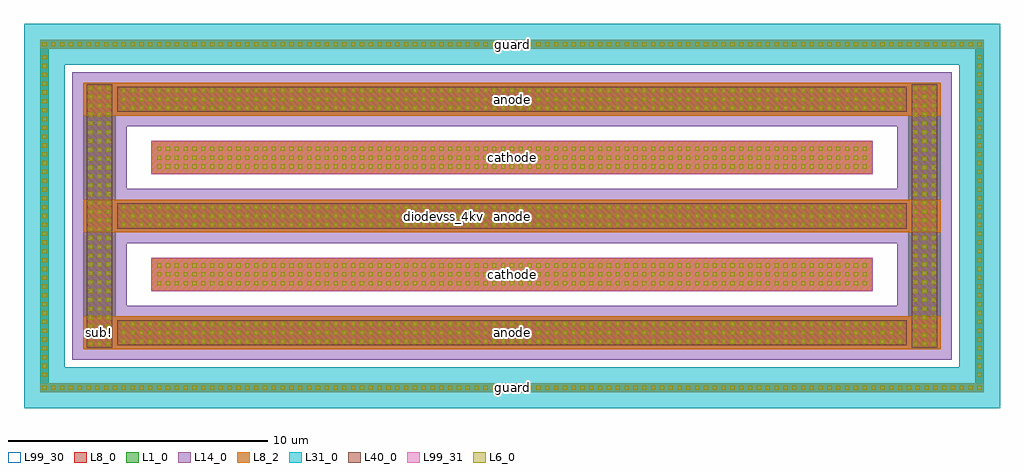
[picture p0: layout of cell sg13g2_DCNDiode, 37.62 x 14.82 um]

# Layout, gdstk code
import gdstk
lib = gdstk.Library(unit=1e-6, precision=1e-09)
def R(c, l, rs):  # rectangles x0, y0, x1, y1
    for r in rs: c.add(gdstk.rectangle(r[:2], r[2:], *l))
def A(c, l, x, y, w, h, nx, ny, dx, dy):  # array of equal rectangles
    R(c, l, [(x+i*dx, y+j*dy, x+i*dx+w, y+j*dy+h) for i in range(nx) for j in range(ny)])
def P(c, l, *ps):  # polygons
    for p in ps: c.add(gdstk.Polygon(p, *l))
L1_0 = (1, 0)
L6_0 = (6, 0)
L8_0 = (8, 0)
L8_2 = (8, 2)
L14_0 = (14, 0)
L31_0 = (31, 0)
L40_0 = (40, 0)
L99_30 = (99, 30)
L99_31 = (99, 31)

sg13g2_guardring_n7276w2 = lib.new_cell('sg13g2_GuardRing_N7276W2716HFF')
P(sg13g2_guardring_n7276w2, L1_0, [(-18.19,-6.79),(-18.19,6.45),(-17.85,6.45),(-17.85,-6.45),(17.85,-6.45),(17.85,6.45),(-18.19,6.45),(-18.19,6.79),(18.19,6.79),(18.19,-6.79)])
A(sg13g2_guardring_n7276w2, L6_0, -18.1, -6.7, 0.16, 0.16, 107, 2, 0.34, 13.24)
A(sg13g2_guardring_n7276w2, L6_0, -18.1, -6.2, 0.16, 0.16, 1, 37, 0, 0.34)
A(sg13g2_guardring_n7276w2, L6_0, 17.94, -6.2, 0.16, 0.16, 1, 37, 0, 0.34)
P(sg13g2_guardring_n7276w2, L8_0, [(-18.19,-6.79),(-18.19,6.45),(-17.85,6.45),(-17.85,-6.45),(17.85,-6.45),(17.85,6.45),(-18.19,6.45),(-18.19,6.79),(18.19,6.79),(18.19,-6.79)])
P(sg13g2_guardring_n7276w2, L31_0, [(-18.81,-7.41),(-18.81,5.83),(-17.23,5.83),(-17.23,-5.83),(17.23,-5.83),(17.23,5.83),(-18.81,5.83),(-18.81,7.41),(18.81,7.41),(18.81,-7.41)])

sg13g2_dcndiode = lib.new_cell('sg13g2_DCNDiode')
R(sg13g2_dcndiode, L1_0, [(2.64,2.25,30.42,3.51), (2.64,6.75,30.42,8.01)])
P(sg13g2_dcndiode, L1_0, [(0,0),(0,4.5),(1.26,4.5),(1.26,1.26),(31.8,1.26),(31.8,4.5),(0,4.5),(0,9),(1.26,9),(1.26,5.76),(31.8,5.76),(31.8,9),(0,9),(0,10.26),(33.06,10.26),(33.06,0)])
A(sg13g2_dcndiode, L6_0, 0.21, 0.12, 0.16, 0.16, 3, 30, 0.34, 0.34)
A(sg13g2_dcndiode, L6_0, 32.01, 0.12, 0.16, 0.16, 3, 30, 0.34, 0.34)
A(sg13g2_dcndiode, L6_0, 1.49, 0.21, 0.16, 0.16, 89, 3, 0.34, 0.34)
A(sg13g2_dcndiode, L6_0, 2.85, 2.46, 0.16, 0.16, 81, 3, 0.34, 0.34)
A(sg13g2_dcndiode, L6_0, 1.49, 4.71, 0.16, 0.16, 89, 3, 0.34, 0.34)
A(sg13g2_dcndiode, L6_0, 2.85, 6.96, 0.16, 0.16, 81, 3, 0.34, 0.34)
A(sg13g2_dcndiode, L6_0, 1.49, 9.21, 0.16, 0.16, 89, 3, 0.34, 0.34)
R(sg13g2_dcndiode, L8_0, [(-1.66,-1.66,34.72,-1.32), (2.64,2.25,30.42,3.51), (2.64,6.75,30.42,8.01), (-1.66,11.58,34.72,11.92)])
P(sg13g2_dcndiode, L8_0, [(0,0),(0,4.5),(1.26,4.5),(1.26,1.26),(31.8,1.26),(31.8,4.5),(0,4.5),(0,9),(1.26,9),(1.26,5.76),(31.8,5.76),(31.8,9),(0,9),(0,10.26),(33.06,10.26),(33.06,0)])
A(sg13g2_dcndiode, L8_2, 0, 0, 33.06, 1.26, 1, 3, 0, 4.5)
R(sg13g2_dcndiode, L8_2, [(-1.66,-1.66,34.72,-1.32), (2.64,2.25,30.42,3.51), (2.64,6.75,30.42,8.01), (-1.66,11.58,34.72,11.92)])
P(sg13g2_dcndiode, L14_0, [(-0.42,-0.42),(-0.42,4.08),(1.68,4.08),(1.68,1.68),(31.38,1.68),(31.38,4.08),(-0.42,4.08),(-0.42,8.58),(1.68,8.58),(1.68,6.18),(31.38,6.18),(31.38,8.58),(-0.42,8.58),(-0.42,10.68),(33.48,10.68),(33.48,-0.42)])
A(sg13g2_dcndiode, L40_0, 1.31, 0.14, 30.44, 0.98, 1, 3, 0, 4.5)
R(sg13g2_dcndiode, L40_0, [(0.14,0.05,1.12,10.21), (31.94,0.05,32.92,10.21)])
R(sg13g2_dcndiode, L99_30, [(-1.66,-1.66,34.72,11.92)])
R(sg13g2_dcndiode, L99_31, [(2.62,2.23,30.44,3.53), (2.62,6.73,30.44,8.03)])
sg13g2_dcndiode.add(gdstk.Reference(sg13g2_guardring_n7276w2, (16.53,5.13)))
sg13g2_dcndiode.add(gdstk.Label('cathode', (16.53,2.88), layer=8, texttype=25))
sg13g2_dcndiode.add(gdstk.Label('cathode', (16.53,7.38), layer=8, texttype=25))
sg13g2_dcndiode.add(gdstk.Label('anode', (16.53,9.63), layer=8, texttype=25))
sg13g2_dcndiode.add(gdstk.Label('anode', (16.53,0.63), layer=8, texttype=25))
sg13g2_dcndiode.add(gdstk.Label('anode', (16.53,5.13), layer=8, texttype=25))
sg13g2_dcndiode.add(gdstk.Label('guard', (16.53,-1.49), layer=8, texttype=25))
sg13g2_dcndiode.add(gdstk.Label('guard', (16.53,11.75), layer=8, texttype=25))
sg13g2_dcndiode.add(gdstk.Label('sub!', (0.63,0.63), layer=63, texttype=0))
sg13g2_dcndiode.add(gdstk.Label('diodevss_4kv', (13.89,5.13), layer=63, texttype=0))

lib.write_gds('sg13g2_DCNDiode.gds')
